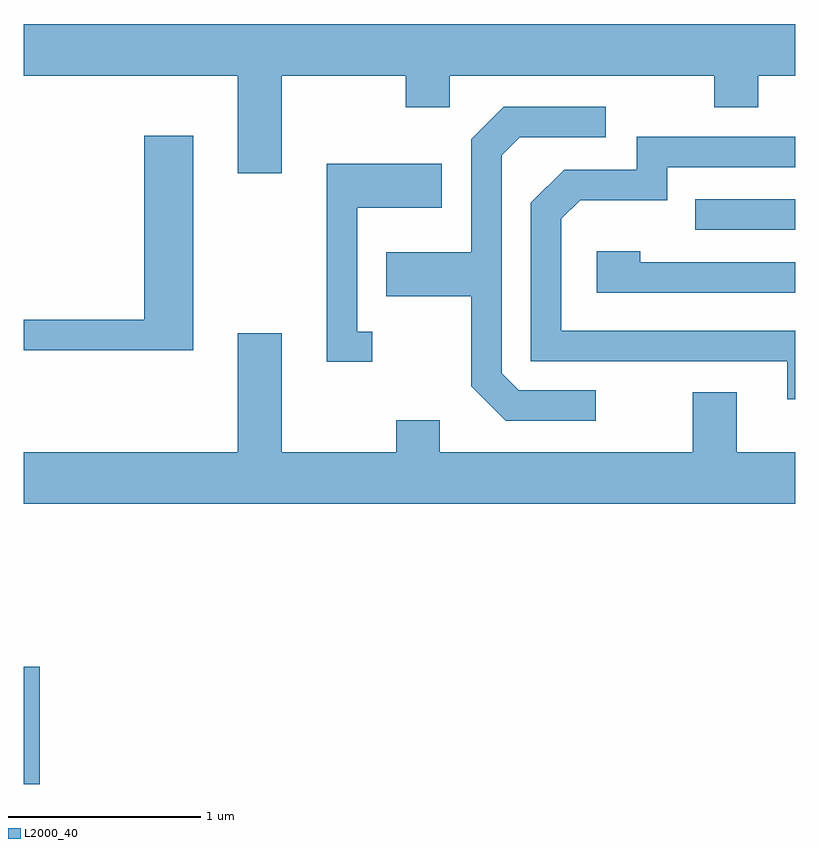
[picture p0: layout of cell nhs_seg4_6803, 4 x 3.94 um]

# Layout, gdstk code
import gdstk
lib = gdstk.Library(unit=1e-6, precision=1e-09)
def R(c, l, rs):  # rectangles x0, y0, x1, y1
    for r in rs: c.add(gdstk.rectangle(r[:2], r[2:], *l))
def P(c, l, *ps):  # polygons
    for p in ps: c.add(gdstk.Polygon(p, *l))
L2000_40 = (2000, 40)

nhs_seg4_6803 = lib.new_cell('nhs_seg4_6803')
R(nhs_seg4_6803, L2000_40, [(385.611,1259.982,385.694,1260.589), (389.093,1262.856,389.611,1263.014)])
P(nhs_seg4_6803, L2000_40, [(386.949,1263.656),(387.591,1263.656),(387.591,1263.491),(387.819,1263.491),(387.819,1263.656),(389.191,1263.656),(389.191,1263.491),(389.419,1263.491),(389.419,1263.656),(389.611,1263.656),(389.611,1263.924),(385.611,1263.924),(385.611,1263.656),(386.721,1263.656),(386.721,1263.151),(386.949,1263.151)],
  [(388.578,1262.024),(388.177,1262.024),(388.089,1262.112),(388.089,1263.244),(388.182,1263.336),(388.628,1263.336),(388.628,1263.494),(388.099,1263.494),(387.931,1263.327),(387.931,1262.739),(387.491,1262.739),(387.491,1262.511),(387.931,1262.511),(387.931,1262.044),(388.109,1261.866),(388.578,1261.866)],
  [(386.489,1263.344),(386.236,1263.344),(386.236,1262.389),(385.611,1262.389),(385.611,1262.231),(386.489,1262.231)],
  [(389.611,1262.334),(388.399,1262.334),(388.399,1262.914),(388.497,1263.011),(388.949,1263.011),(388.949,1263.181),(389.611,1263.181),(389.611,1263.339),(388.791,1263.339),(388.791,1263.169),(388.414,1263.169),(388.241,1262.997),(388.241,1262.176),(389.571,1262.176),(389.571,1261.978),(389.611,1261.978)],
  [(387.418,1262.329),(387.339,1262.329),(387.339,1262.971),(387.779,1262.971),(387.779,1263.199),(387.181,1263.199),(387.181,1262.171),(387.418,1262.171)],
  [(389.611,1262.689),(388.809,1262.689),(388.809,1262.744),(388.581,1262.744),(388.581,1262.531),(389.611,1262.531)],
  [(389.611,1261.704),(389.309,1261.704),(389.309,1262.014),(389.081,1262.014),(389.081,1261.704),(387.769,1261.704),(387.769,1261.869),(387.541,1261.869),(387.541,1261.704),(386.949,1261.704),(386.949,1262.319),(386.721,1262.319),(386.721,1261.704),(385.611,1261.704),(385.611,1261.436),(389.611,1261.436)])

lib.write_gds('nhs_seg4_6803.gds')
